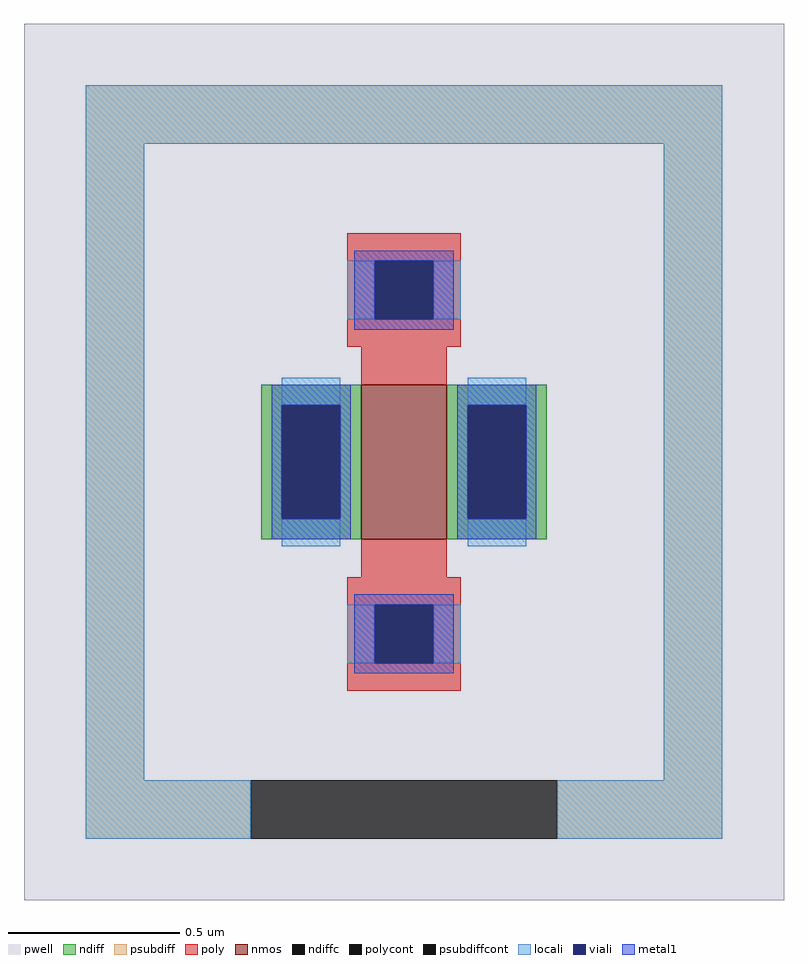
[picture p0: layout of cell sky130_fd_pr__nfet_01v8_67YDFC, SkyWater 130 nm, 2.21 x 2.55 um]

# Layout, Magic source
magic
tech sky130A
magscale 1 2
<< pwell >>
rect -221 -255 221 255
<< nmos >>
rect -25 -45 25 45
<< ndiff >>
rect -83 33 -25 45
rect -83 -33 -71 33
rect -37 -33 -25 33
rect -83 -45 -25 -33
rect 25 33 83 45
rect 25 -33 37 33
rect 71 -33 83 33
rect 25 -45 83 -33
<< ndiffc >>
rect -71 -33 -37 33
rect 37 -33 71 33
<< psubdiff >>
rect -185 185 185 219
rect -185 -185 -151 185
rect 151 -185 185 185
rect -185 -219 -89 -185
rect 89 -219 185 -185
<< psubdiffcont >>
rect -89 -219 89 -185
<< poly >>
rect -33 117 33 133
rect -33 83 -17 117
rect 17 83 33 117
rect -33 67 33 83
rect -25 45 25 67
rect -25 -67 25 -45
rect -33 -83 33 -67
rect -33 -117 -17 -83
rect 17 -117 33 -83
rect -33 -133 33 -117
<< polycont >>
rect -17 83 17 117
rect -17 -117 17 -83
<< locali >>
rect -185 185 185 219
rect -185 -185 -151 185
rect -33 83 -17 117
rect 17 83 33 117
rect -71 33 -37 49
rect -71 -49 -37 -33
rect 37 33 71 49
rect 37 -49 71 -33
rect -33 -117 -17 -83
rect 17 -117 33 -83
rect 151 -185 185 185
rect -185 -219 -89 -185
rect 89 -219 185 -185
<< viali >>
rect -17 83 17 117
rect -71 -33 -37 33
rect 37 -33 71 33
rect -17 -117 17 -83
<< metal1 >>
rect -29 117 29 123
rect -29 83 -17 117
rect 17 83 29 117
rect -29 77 29 83
rect -77 33 -31 45
rect -77 -33 -71 33
rect -37 -33 -31 33
rect -77 -45 -31 -33
rect 31 33 77 45
rect 31 -33 37 33
rect 71 -33 77 33
rect 31 -45 77 -33
rect -29 -83 29 -77
rect -29 -117 -17 -83
rect 17 -117 29 -83
rect -29 -123 29 -117
<< properties >>
string FIXED_BBOX -168 -202 168 202
string gencell sky130_fd_pr__nfet_01v8
string library sky130
string parameters w 0.450 l 0.250 m 1 nf 1 diffcov 100 polycov 100 guard 1 glc 0 grc 0 gtc 0 gbc 1 tbcov 100 rlcov 100 topc 1 botc 1 poverlap 0 doverlap 1 lmin 0.15 wmin 0.42 compatible {sky130_fd_pr__nfet_01v8 sky130_fd_pr__nfet_01v8_lvt  sky130_fd_bs_flash__special_sonosfet_star  sky130_fd_pr__nfet_g5v0d10v5 sky130_fd_pr__nfet_05v0_nvt  sky130_fd_pr__nfet_03v3_nvt} full_metal 1 viasrc 100 viadrn 100 viagate 100 viagb 0 viagr 0 viagl 0 viagt 0
<< end >>
